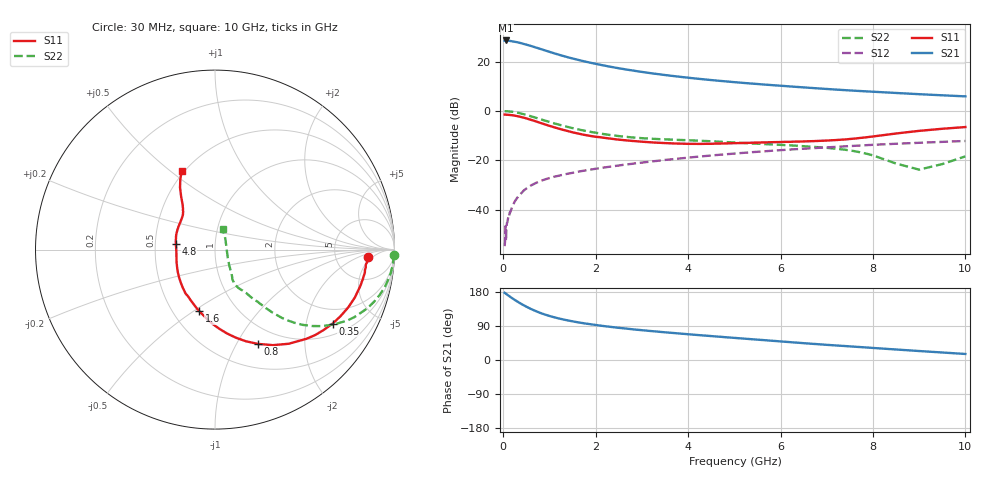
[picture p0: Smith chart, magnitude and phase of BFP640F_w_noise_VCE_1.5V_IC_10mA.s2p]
! Infineon Technologies  Discrete & RF Semiconductors
! BFP640F
! VCE =  1.5 V,  IC =  10 mA
! Common Emitter S-Parameters:  Apr 2013
# GHz  S  MA  R  50
!  f  S11  S21  S12  S22
! GHz  MAG  ANG  MAG  ANG  MAG  ANG  MAG  ANG
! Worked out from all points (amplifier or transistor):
!   99 points, 30 MHz to 10 GHz, reference 50 ohm
!   highest |S21| = 28.7 dB at 50 MHz (marker M1)
!   |S21| within 3 dB of that: start of sweep to 728.8 MHz
!   unconditionally stable (mu >= 1): 3.157 GHz to end of sweep
!   at 350 MHz: K = 0.20, MSG = 31.0 dB, |S12| = -34.2 dB
!   at 3.5 GHz: K = 1.02, MAG = 16.5 dB, |S12| = -19.8 dB
!   at 10 GHz: K = 1.07, MAG = 7.5 dB, |S12| = -12.1 dB
!   lowest NFmin = 0.63 dB at 450 MHz
!   S11 on the Smith chart (normalised r, x): 30 MHz: 11, -3; 350 MHz: 1.39, -2.85; 800 MHz: 0.78, -1.23; 1.6 GHz: 0.67, -0.53; 4.8 GHz: 0.64, +0.04; 10 GHz: 0.49, +0.55
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0.03  0.8512 -2.8  26.94 177.4  0.0018 74.6  0.9961 -1.7
0.05  0.85 -4.8  27.3 175.8  0.0046 97.0  0.997 -2.9
0.06  0.8443 -5.7  27.24 174.6  0.0023 80.9  0.9948 -3.7
0.12  0.8392 -11.6  26.95 169.3  0.0067 83.1  0.9882 -7.6
0.2  0.8233 -19.0  26.2 162.6  0.0117 83.0  0.9688 -12.5
0.3  0.7915 -28.0  25.18 154.7  0.0172 77.1  0.9323 -18.2
0.35  0.774 -32.2  24.47 151.0  0.0196 75.1  0.9114 -20.9
0.4  0.7525 -36.6  23.91 147.3  0.0219 74.4  0.8856 -23.4
0.5  0.7111 -44.4  22.48 140.7  0.0267 70.9  0.8378 -28.1
0.6  0.6659 -52.0  21.1 134.6  0.0308 68.8  0.7856 -32.0
0.8  0.5773 -65.5  18.43 124.3  0.0379 64.1  0.6886 -38.2
1  0.5022 -77.0  16.04 116.2  0.0436 61.5  0.6027 -42.6
1.2  0.4411 -87.0  14.04 109.7  0.0486 59.7  0.5328 -45.6
1.6  0.3533 -104.5  11.12 99.8  0.0582 57.8  0.4307 -49.0
1.7  0.3375 -108.5  10.55 97.8  0.0606 57.6  0.4102 -49.5
2.4  0.2699 -133.6  7.73 86.3  0.0763 55.7  0.3194 -53.4
3.4  0.2267 -160.8  5.567 74.2  0.0992 53.5  0.2687 -56.7
4.8  0.2205 171.4  4.034 60.2  0.1324 48.4  0.2354 -59.5
5.1  0.2242 166.6  3.813 57.4  0.1396 47.1  0.2278 -59.9
6.7  0.2454 142.3  2.946 42.6  0.1765 39.4  0.188 -59.2
8.5  0.3511 122.5  2.339 27.7  0.2172 29.9  0.086 -33.9
10  0.4747 113.0  1.994 15.9  0.2474 21.7  0.1204 69.1
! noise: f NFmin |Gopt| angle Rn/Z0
0.45  0.63  0.2  7  0.06
0.9  0.63  0.19  19  0.06
1.5  0.65  0.18  28  0.07
1.9  0.67  0.17  43  0.08
2.4  0.7  0.15  55  0.08
3.5  0.79  0.12  85  0.1
5.5  0.99  0.13  -177  0.13
10  1.54  0.4  -98  0.34
